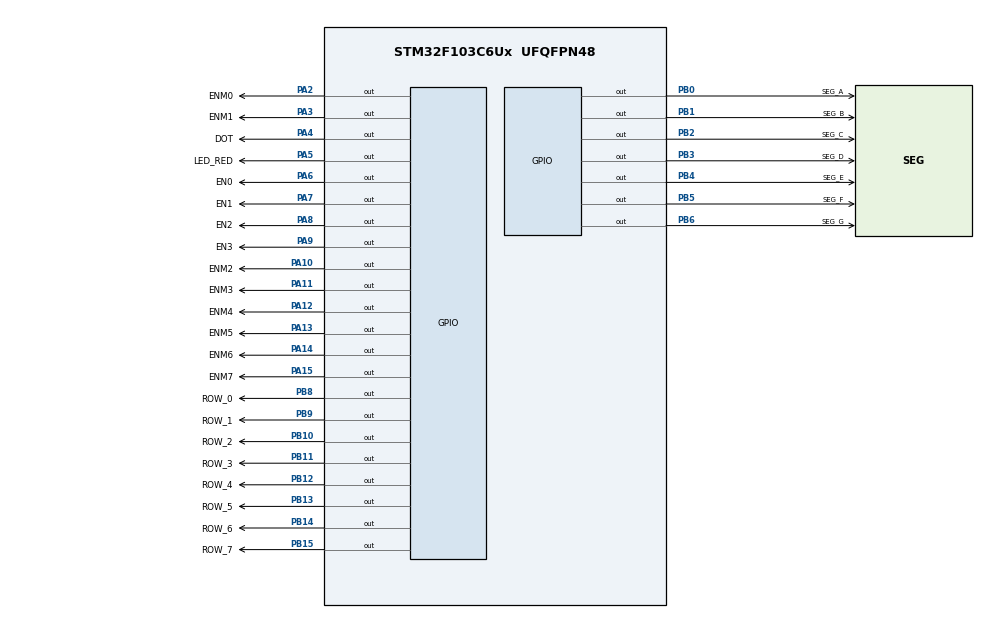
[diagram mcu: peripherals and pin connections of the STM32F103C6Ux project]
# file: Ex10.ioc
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Mcu.Family=STM32F1
Mcu.Name=STM32F103C6Ux
Mcu.Package=UFQFPN48
NVIC.PriorityGroup=NVIC_PRIORITYGROUP_4
NVIC.TIM2_IRQn=true\:0\:0\:false\:false\:true\:true\:true
PA10.GPIO_Label=ENM2
PA10.Signal=GPIO_Output
PA11.GPIO_Label=ENM3
PA11.Signal=GPIO_Output
PA12.GPIO_Label=ENM4
PA12.Signal=GPIO_Output
PA13.GPIO_Label=ENM5
PA13.Signal=GPIO_Output
PA14.GPIO_Label=ENM6
PA14.Signal=GPIO_Output
PA15.GPIO_Label=ENM7
PA15.Signal=GPIO_Output
PA2.GPIO_Label=ENM0
PA2.Signal=GPIO_Output
PA3.GPIO_Label=ENM1
PA3.Signal=GPIO_Output
PA4.GPIO_Label=DOT
PA4.Signal=GPIO_Output
PA5.GPIO_Label=LED_RED
PA5.Signal=GPIO_Output
PA6.GPIO_Label=EN0
PA6.Signal=GPIO_Output
PA7.GPIO_Label=EN1
PA7.Signal=GPIO_Output
PA8.GPIO_Label=EN2
PA8.Signal=GPIO_Output
PA9.GPIO_Label=EN3
PA9.Signal=GPIO_Output
PB0.GPIO_Label=SEG_A
PB0.Signal=GPIO_Output
PB1.GPIO_Label=SEG_B
PB1.Signal=GPIO_Output
PB10.GPIO_Label=ROW_2
PB10.Signal=GPIO_Output
PB11.GPIO_Label=ROW_3
PB11.Signal=GPIO_Output
PB12.GPIO_Label=ROW_4
PB12.Signal=GPIO_Output
PB13.GPIO_Label=ROW_5
PB13.Signal=GPIO_Output
PB14.GPIO_Label=ROW_6
PB14.Signal=GPIO_Output
PB15.GPIO_Label=ROW_7
PB15.Signal=GPIO_Output
PB2.GPIO_Label=SEG_C
PB2.Signal=GPIO_Output
PB3.GPIO_Label=SEG_D
PB3.Signal=GPIO_Output
PB4.GPIO_Label=SEG_E
PB4.Signal=GPIO_Output
PB5.GPIO_Label=SEG_F
PB5.Signal=GPIO_Output
PB6.GPIO_Label=SEG_G
PB6.Signal=GPIO_Output
PB8.GPIO_Label=ROW_0
PB8.Signal=GPIO_Output
PB9.GPIO_Label=ROW_1
PB9.Signal=GPIO_Output
ProjectManager.HeapSize=0x200
ProjectManager.StackSize=0x400
ProjectManager.TargetToolchain=STM32CubeIDE
RCC.APB1Freq_Value=8000000
RCC.APB2Freq_Value=8000000
TIM2.Period=10
TIM2.Prescaler=7999
VP_SYS_VS_ND.Mode=No_Debug
VP_TIM2_VS_ClockSourceINT.Mode=Internal
board=custom

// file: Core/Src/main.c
/* USER CODE BEGIN Header */
/**
  ******************************************************************************
  * @file           : main.c
  * @brief          : Main program body
  ******************************************************************************
  * @attention
  *
  * <h2><center>&copy; Copyright (c) 2022 STMicroelectronics.
  * All rights reserved.</center></h2>
  *
  * This software component is licensed by ST under BSD 3-Clause license,
  * the "License"; You may not use this file except in compliance with the
  * License. You may obtain a copy of the License at:
  *                        opensource.org/licenses/BSD-3-Clause
  *
  ******************************************************************************
  */
/* USER CODE END Header */
#include "main.h"

/* USER CODE BEGIN Includes */
#include "software_timer.h"
#include "matrix.h"
/* USER CODE END Includes */

TIM_HandleTypeDef htim2;

void SystemClock_Config(void);
static void MX_GPIO_Init(void);
static void MX_TIM2_Init(void);

int main(void)
{

  /* MCU Configuration--------------------------------------------------------*/

  /* Reset of all peripherals, Initializes the Flash interface and the Systick. */
  HAL_Init();

  /* Configure the system clock */
  SystemClock_Config();

  /* Initialize all configured peripherals */
  MX_GPIO_Init();
  MX_TIM2_Init();
  /* USER CODE BEGIN 2 */
  HAL_TIM_Base_Start_IT(&htim2);
  setTimer0(500); //set timer for led red PA5 blinks - 500*(1/500Hz) = 1000ms
  setTimer1(5); //set timer for led matrix  - 10*(1/500Hz) = 20ms
  int index_led_matrix = 0;
  /* USER CODE END 2 */

  /* Infinite loop */
  while (1)
  {

    /* USER CODE BEGIN 3 */
	if (timer0_flag == 1){ //Toggle LED RED PA5
		setTimer0(500);
		HAL_GPIO_TogglePin(GPIOA, LED_RED_Pin);
	}

	if (timer1_flag == 1){ //Display each column of matrix led
		setTimer1(5);
		//TODO
		updateLedMatrix(index_led_matrix);
		index_led_matrix = (index_led_matrix + 1) % MAX_LED_MATRIX; //to fix range of index_led_matrix in [0..7]
	}
  }
  /* USER CODE END 3 */
}

void SystemClock_Config(void)
{
  RCC_OscInitTypeDef RCC_OscInitStruct = {0};
  RCC_ClkInitTypeDef RCC_ClkInitStruct = {0};

  /** Initializes the RCC Oscillators according to the specified parameters
  * in the RCC_OscInitTypeDef structure.
  */
  RCC_OscInitStruct.OscillatorType = RCC_OSCILLATORTYPE_HSI;
  RCC_OscInitStruct.HSIState = RCC_HSI_ON;
  RCC_OscInitStruct.HSICalibrationValue = RCC_HSICALIBRATION_DEFAULT;
  RCC_OscInitStruct.PLL.PLLState = RCC_PLL_NONE;
  if (HAL_RCC_OscConfig(&RCC_OscInitStruct) != HAL_OK)
  {
    Error_Handler();
  }
  /** Initializes the CPU, AHB and APB buses clocks
  */
  RCC_ClkInitStruct.ClockType = RCC_CLOCKTYPE_HCLK|RCC_CLOCKTYPE_SYSCLK
                              |RCC_CLOCKTYPE_PCLK1|RCC_CLOCKTYPE_PCLK2;
  RCC_ClkInitStruct.SYSCLKSource = RCC_SYSCLKSOURCE_HSI;
  RCC_ClkInitStruct.AHBCLKDivider = RCC_SYSCLK_DIV1;
  RCC_ClkInitStruct.APB1CLKDivider = RCC_HCLK_DIV1;
  RCC_ClkInitStruct.APB2CLKDivider = RCC_HCLK_DIV1;

  if (HAL_RCC_ClockConfig(&RCC_ClkInitStruct, FLASH_LATENCY_0) != HAL_OK)
  {
    Error_Handler();
  }
}

static void MX_TIM2_Init(void)
{

  TIM_ClockConfigTypeDef sClockSourceConfig = {0};
  TIM_MasterConfigTypeDef sMasterConfig = {0};

  htim2.Instance = TIM2;
  htim2.Init.Prescaler = 7999;
  htim2.Init.CounterMode = TIM_COUNTERMODE_UP;
  htim2.Init.Period = 1;
  htim2.Init.ClockDivision = TIM_CLOCKDIVISION_DIV1;
  htim2.Init.AutoReloadPreload = TIM_AUTORELOAD_PRELOAD_DISABLE;
  if (HAL_TIM_Base_Init(&htim2) != HAL_OK)
  {
    Error_Handler();
  }
  sClockSourceConfig.ClockSource = TIM_CLOCKSOURCE_INTERNAL;
  if (HAL_TIM_ConfigClockSource(&htim2, &sClockSourceConfig) != HAL_OK)
  {
    Error_Handler();
  }
  sMasterConfig.MasterOutputTrigger = TIM_TRGO_RESET;
  sMasterConfig.MasterSlaveMode = TIM_MASTERSLAVEMODE_DISABLE;
  if (HAL_TIMEx_MasterConfigSynchronization(&htim2, &sMasterConfig) != HAL_OK)
  {
    Error_Handler();
  }

}

static void MX_GPIO_Init(void)
{
  GPIO_InitTypeDef GPIO_InitStruct = {0};

  /* GPIO Ports Clock Enable */
  __HAL_RCC_GPIOA_CLK_ENABLE();
  __HAL_RCC_GPIOB_CLK_ENABLE();

  /*Configure GPIO pin Output Level */
  HAL_GPIO_WritePin(GPIOA, ENM0_Pin|ENM1_Pin|DOT_Pin|LED_RED_Pin
                          |EN0_Pin|EN1_Pin|EN2_Pin|EN3_Pin
                          |ENM2_Pin|ENM3_Pin|ENM4_Pin|ENM5_Pin
                          |ENM6_Pin|ENM7_Pin, GPIO_PIN_SET);

  /*Configure GPIO pin Output Level */
  HAL_GPIO_WritePin(GPIOB, SEG_A_Pin|SEG_B_Pin|SEG_C_Pin|ROW_2_Pin
                          |ROW_3_Pin|ROW_4_Pin|ROW_5_Pin|ROW_6_Pin
                          |ROW_7_Pin|SEG_D_Pin|SEG_E_Pin|SEG_F_Pin
                          |SEG_G_Pin|ROW_0_Pin|ROW_1_Pin, GPIO_PIN_SET);

  /*Configure GPIO pins : ENM0_Pin ENM1_Pin DOT_Pin LED_RED_Pin
                           EN0_Pin EN1_Pin EN2_Pin EN3_Pin
                           ENM2_Pin ENM3_Pin ENM4_Pin ENM5_Pin
                           ENM6_Pin ENM7_Pin */
  GPIO_InitStruct.Pin = ENM0_Pin|ENM1_Pin|DOT_Pin|LED_RED_Pin
                          |EN0_Pin|EN1_Pin|EN2_Pin|EN3_Pin
                          |ENM2_Pin|ENM3_Pin|ENM4_Pin|ENM5_Pin
                          |ENM6_Pin|ENM7_Pin;
  GPIO_InitStruct.Mode = GPIO_MODE_OUTPUT_PP;
  GPIO_InitStruct.Pull = GPIO_NOPULL;
  GPIO_InitStruct.Speed = GPIO_SPEED_FREQ_LOW;
  HAL_GPIO_Init(GPIOA, &GPIO_InitStruct);

  /*Configure GPIO pins : SEG_A_Pin SEG_B_Pin SEG_C_Pin ROW_2_Pin
                           ROW_3_Pin ROW_4_Pin ROW_5_Pin ROW_6_Pin
                           ROW_7_Pin SEG_D_Pin SEG_E_Pin SEG_F_Pin
                           SEG_G_Pin ROW_0_Pin ROW_1_Pin */
  GPIO_InitStruct.Pin = SEG_A_Pin|SEG_B_Pin|SEG_C_Pin|ROW_2_Pin
                          |ROW_3_Pin|ROW_4_Pin|ROW_5_Pin|ROW_6_Pin
                          |ROW_7_Pin|SEG_D_Pin|SEG_E_Pin|SEG_F_Pin
                          |SEG_G_Pin|ROW_0_Pin|ROW_1_Pin;
  GPIO_InitStruct.Mode = GPIO_MODE_OUTPUT_PP;
  GPIO_InitStruct.Pull = GPIO_NOPULL;
  GPIO_InitStruct.Speed = GPIO_SPEED_FREQ_LOW;
  HAL_GPIO_Init(GPIOB, &GPIO_InitStruct);

}

/* USER CODE BEGIN 4 */
void HAL_TIM_PeriodElapsedCallback(TIM_HandleTypeDef *htim){
	timerRun();
}
/* USER CODE END 4 */

void Error_Handler(void)
{
  __disable_irq();
  while (1)
  {
  }
}

/************************ (C) COPYRIGHT STMicroelectronics *****END OF FILE****/
